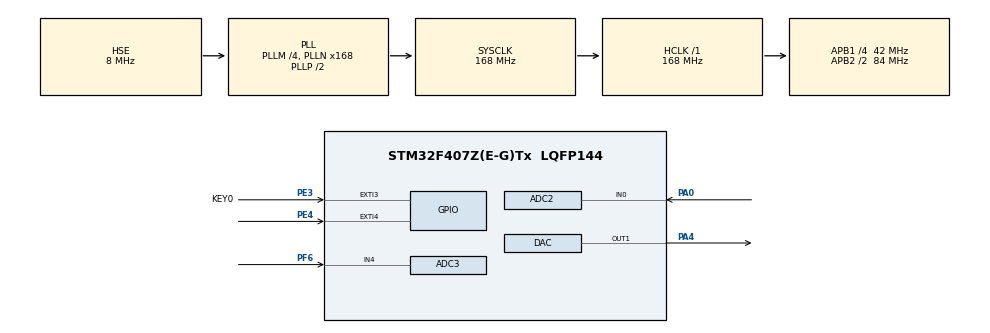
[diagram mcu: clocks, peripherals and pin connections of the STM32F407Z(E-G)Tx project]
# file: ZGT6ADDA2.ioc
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ADC2.Channel-0\#ChannelRegularConversion=ADC_CHANNEL_0
ADC2.ContinuousConvMode=ENABLE
ADC2.DMAContinuousRequests=ENABLE
ADC2.NbrOfConversionFlag=1
ADC2.Rank-0\#ChannelRegularConversion=1
ADC2.SamplingTime-0\#ChannelRegularConversion=ADC_SAMPLETIME_3CYCLES
ADC2.ScanConvMode=DISABLE
ADC3.Channel-1\#ChannelRegularConversion=ADC_CHANNEL_4
ADC3.ContinuousConvMode=ENABLE
ADC3.DMAContinuousRequests=ENABLE
ADC3.DiscontinuousConvMode=DISABLE
ADC3.NbrOfConversion=1
ADC3.NbrOfConversionFlag=1
ADC3.Rank-1\#ChannelRegularConversion=1
ADC3.SamplingTime-1\#ChannelRegularConversion=ADC_SAMPLETIME_3CYCLES
ADC3.ScanConvMode=DISABLE
Dma.ADC2.1.Direction=DMA_PERIPH_TO_MEMORY
Dma.ADC2.1.FIFOMode=DMA_FIFOMODE_DISABLE
Dma.ADC2.1.Instance=DMA2_Stream2
Dma.ADC2.1.MemDataAlignment=DMA_MDATAALIGN_HALFWORD
Dma.ADC2.1.MemInc=DMA_MINC_ENABLE
Dma.ADC2.1.Mode=DMA_CIRCULAR
Dma.ADC2.1.PeriphDataAlignment=DMA_PDATAALIGN_HALFWORD
Dma.ADC2.1.PeriphInc=DMA_PINC_DISABLE
Dma.ADC2.1.Priority=DMA_PRIORITY_LOW
Dma.ADC3.0.Direction=DMA_PERIPH_TO_MEMORY
Dma.ADC3.0.FIFOMode=DMA_FIFOMODE_DISABLE
Dma.ADC3.0.Instance=DMA2_Stream0
Dma.ADC3.0.MemDataAlignment=DMA_MDATAALIGN_HALFWORD
Dma.ADC3.0.MemInc=DMA_MINC_ENABLE
Dma.ADC3.0.Mode=DMA_CIRCULAR
Dma.ADC3.0.PeriphDataAlignment=DMA_PDATAALIGN_HALFWORD
Dma.ADC3.0.PeriphInc=DMA_PINC_DISABLE
Dma.ADC3.0.Priority=DMA_PRIORITY_LOW
Dma.Request0=ADC3
Dma.Request1=ADC2
Mcu.Family=STM32F4
Mcu.Name=STM32F407Z(E-G)Tx
Mcu.Package=LQFP144
NVIC.EXTI3_IRQn=true\:0\:0\:false\:false\:true\:true\:true
NVIC.EXTI4_IRQn=true\:0\:0\:false\:false\:true\:true\:true
NVIC.PriorityGroup=NVIC_PRIORITYGROUP_4
PA0-WKUP.Signal=ADCx_IN0
PA4.Signal=COMP_DAC1_group
PE3.GPIO_Label=KEY0
PE3.GPIO_ModeDefaultEXTI=GPIO_MODE_IT_FALLING
PE3.GPIO_PuPd=GPIO_PULLUP
PE3.Signal=GPXTI3
PE4.GPIO_ModeDefaultEXTI=GPIO_MODE_IT_FALLING
PE4.GPIO_PuPd=GPIO_PULLUP
PE4.Signal=GPXTI4
PF6.Mode=IN4
PF6.Signal=ADC3_IN4
PH0-OSC_IN.Mode=HSE-External-Oscillator
PH0-OSC_IN.Signal=RCC_OSC_IN
PH1-OSC_OUT.Mode=HSE-External-Oscillator
PH1-OSC_OUT.Signal=RCC_OSC_OUT
ProjectManager.HeapSize=0x200
ProjectManager.StackSize=0x400
ProjectManager.TargetToolchain=MDK-ARM V5
RCC.48MHZClocksFreq_Value=84000000
RCC.AHBFreq_Value=168000000
RCC.APB1CLKDivider=RCC_HCLK_DIV4
RCC.APB1Freq_Value=42000000
RCC.APB1TimFreq_Value=84000000
RCC.APB2CLKDivider=RCC_HCLK_DIV2
RCC.APB2Freq_Value=84000000
RCC.APB2TimFreq_Value=168000000
RCC.CortexFreq_Value=168000000
RCC.HCLKFreq_Value=168000000
RCC.HSE_VALUE=8000000
RCC.HSI_VALUE=16000000
RCC.LSE_VALUE=32768
RCC.PLLM=4
RCC.PLLN=168
RCC.PLLSourceVirtual=RCC_PLLSOURCE_HSE
RCC.SYSCLKFreq_VALUE=168000000
RCC.SYSCLKSource=RCC_SYSCLKSOURCE_PLLCLK
RCC.VCOOutputFreq_Value=336000000
SH.ADCx_IN0.0=ADC2_IN0,IN0
SH.COMP_DAC1_group.0=DAC_OUT1,DAC_OUT1
board=custom

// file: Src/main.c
/* USER CODE BEGIN Header */
/**
  ******************************************************************************
  * @file           : main.c
  * @brief          : Main program body
  ******************************************************************************
  * @attention
  *
  * <h2><center>&copy; Copyright (c) 2021 STMicroelectronics.
  * All rights reserved.</center></h2>
  *
  * This software component is licensed by ST under BSD 3-Clause license,
  * the "License"; You may not use this file except in compliance with the
  * License. You may obtain a copy of the License at:
  *                        opensource.org/licenses/BSD-3-Clause
  *
  ******************************************************************************
  */
/* USER CODE END Header */

#include "main.h"

ADC_HandleTypeDef hadc2;
ADC_HandleTypeDef hadc3;
DMA_HandleTypeDef hdma_adc2;
DMA_HandleTypeDef hdma_adc3;

DAC_HandleTypeDef hdac;

void SystemClock_Config(void);
static void MX_GPIO_Init(void);
static void MX_DMA_Init(void);
static void MX_ADC3_Init(void);
static void MX_DAC_Init(void);
static void MX_ADC2_Init(void);

/* USER CODE BEGIN 0 */
float db[41]={0.10000,0.11220,0.12589,0.14125,0.15849,0.17783,0.19953,0.22387,0.25119,0.28184,0.31623,0.35481,0.39811,0.44668,0.50119,0.56234,0.63096,0.70795,0.79433,0.89125,1.00000,1.12202,1.25893,1.41254,1.58489,1.77828,1.99526,2.23872,2.51189,2.81838,3.16228,3.54813,3.98107,4.46684,5.01187,5.62341,6.30957,7.07946,7.94328,8.91251,10.00000};
float out[81]={1.000, 1.000,1.0109, 1.0109,1.0109, 1.0109,1.0109, 1.0109,1.0220, 1.0220,1.0220, 1.0220,1.0220, 1.0220,1.0333, 1.0333,1.0333, 1.0333,1.0449, 1.0449,1.0690, 1.0690,1.0690, 1.0690,1.0814, 1.0814,1.0941, 1.0941,1.1071, 1.1071,1.1205, 1.1205,1.1341, 1.1341,1.1481, 1.1481,1.1625, 1.1625,1.1772, 1.1772,1.1923, 1.1923,1.2237, 1.2237,1.2400, 1.2400,1.2568, 1.2568,1.2917, 1.2917,1.3099, 1.3099,1.3286, 1.3286,1.3676, 1.3676,1.3881, 1.3881,1.4091, 1.4091,1.4531, 1.4531,1.4762, 1.4762,1.5246, 1.5246,1.5500, 1.5500,1.5763, 1.5763,1.6034, 1.6034,1.6316, 1.6316,1.6316, 1.6316,1.6909, 1.6909,1.7222, 1.7222};
	uint32_t ad_value;
int i=20;
int da_value;
int count=0;
int x=0;
int freq=1;
int adc1_in;
/* USER CODE END 0 */

int main(void)
{

  /* MCU Configuration--------------------------------------------------------*/

  /* Reset of all peripherals, Initializes the Flash interface and the Systick. */
  HAL_Init();

  /* Configure the system clock */
  SystemClock_Config();

  /* Initialize all configured peripherals */
  MX_GPIO_Init();
  MX_DMA_Init();
  MX_ADC3_Init();
  MX_DAC_Init();
  MX_ADC2_Init();
  /* USER CODE BEGIN 2 */

//for(x=0;x<81;x++){
//	out[x]=(2.1921/(-0.0001*(x/2)*(x/2) - 0.0202*(x/2) + 2.1921));
//}

HAL_ADC_Start_DMA(&hadc2,(uint32_t*)&adc1_in,1);
HAL_ADC_Start_DMA(&hadc3,(uint32_t*)&ad_value,1);
HAL_DAC_Start(&hdac,DAC_CHANNEL_1); //??DAC??
//HAL_DAC_Start(&hdac,DAC_CHANNEL_1);

  /* USER CODE END 2 */

  /* Infinite loop */
  while (1)
  {

    /* USER CODE BEGIN 3 */

		freq=adc1_in/50-1;

		da_value=ad_value;
		if(da_value<=2048){da_value=(da_value-2048)*db[i]*out[freq]+2048;}
		if(da_value>2048){da_value=(da_value-2048)*db[i]*out[freq]+2048;}
		HAL_DAC_SetValue(&hdac,DAC_CHANNEL_1,DAC_ALIGN_12B_R,(uint32_t)(da_value));
  }
  /* USER CODE END 3 */
}

void SystemClock_Config(void)
{
  RCC_OscInitTypeDef RCC_OscInitStruct = {0};
  RCC_ClkInitTypeDef RCC_ClkInitStruct = {0};

  /** Configure the main internal regulator output voltage
  */
  __HAL_RCC_PWR_CLK_ENABLE();
  __HAL_PWR_VOLTAGESCALING_CONFIG(PWR_REGULATOR_VOLTAGE_SCALE1);
  /** Initializes the CPU, AHB and APB busses clocks
  */
  RCC_OscInitStruct.OscillatorType = RCC_OSCILLATORTYPE_HSE;
  RCC_OscInitStruct.HSEState = RCC_HSE_ON;
  RCC_OscInitStruct.PLL.PLLState = RCC_PLL_ON;
  RCC_OscInitStruct.PLL.PLLSource = RCC_PLLSOURCE_HSE;
  RCC_OscInitStruct.PLL.PLLM = 4;
  RCC_OscInitStruct.PLL.PLLN = 168;
  RCC_OscInitStruct.PLL.PLLP = RCC_PLLP_DIV2;
  RCC_OscInitStruct.PLL.PLLQ = 4;
  if (HAL_RCC_OscConfig(&RCC_OscInitStruct) != HAL_OK)
  {
    Error_Handler();
  }
  /** Initializes the CPU, AHB and APB busses clocks
  */
  RCC_ClkInitStruct.ClockType = RCC_CLOCKTYPE_HCLK|RCC_CLOCKTYPE_SYSCLK
                              |RCC_CLOCKTYPE_PCLK1|RCC_CLOCKTYPE_PCLK2;
  RCC_ClkInitStruct.SYSCLKSource = RCC_SYSCLKSOURCE_PLLCLK;
  RCC_ClkInitStruct.AHBCLKDivider = RCC_SYSCLK_DIV1;
  RCC_ClkInitStruct.APB1CLKDivider = RCC_HCLK_DIV4;
  RCC_ClkInitStruct.APB2CLKDivider = RCC_HCLK_DIV2;

  if (HAL_RCC_ClockConfig(&RCC_ClkInitStruct, FLASH_LATENCY_5) != HAL_OK)
  {
    Error_Handler();
  }
}

static void MX_ADC2_Init(void)
{

  ADC_ChannelConfTypeDef sConfig = {0};

  /** Configure the global features of the ADC (Clock, Resolution, Data Alignment and number of conversion)
  */
  hadc2.Instance = ADC2;
  hadc2.Init.ClockPrescaler = ADC_CLOCK_SYNC_PCLK_DIV4;
  hadc2.Init.Resolution = ADC_RESOLUTION_12B;
  hadc2.Init.ScanConvMode = DISABLE;
  hadc2.Init.ContinuousConvMode = ENABLE;
  hadc2.Init.DiscontinuousConvMode = DISABLE;
  hadc2.Init.ExternalTrigConvEdge = ADC_EXTERNALTRIGCONVEDGE_NONE;
  hadc2.Init.ExternalTrigConv = ADC_SOFTWARE_START;
  hadc2.Init.DataAlign = ADC_DATAALIGN_RIGHT;
  hadc2.Init.NbrOfConversion = 1;
  hadc2.Init.DMAContinuousRequests = ENABLE;
  hadc2.Init.EOCSelection = ADC_EOC_SINGLE_CONV;
  if (HAL_ADC_Init(&hadc2) != HAL_OK)
  {
    Error_Handler();
  }
  /** Configure for the selected ADC regular channel its corresponding rank in the sequencer and its sample time.
  */
  sConfig.Channel = ADC_CHANNEL_0;
  sConfig.Rank = 1;
  sConfig.SamplingTime = ADC_SAMPLETIME_3CYCLES;
  if (HAL_ADC_ConfigChannel(&hadc2, &sConfig) != HAL_OK)
  {
    Error_Handler();
  }

}

static void MX_ADC3_Init(void)
{

  ADC_ChannelConfTypeDef sConfig = {0};

  /** Configure the global features of the ADC (Clock, Resolution, Data Alignment and number of conversion)
  */
  hadc3.Instance = ADC3;
  hadc3.Init.ClockPrescaler = ADC_CLOCK_SYNC_PCLK_DIV4;
  hadc3.Init.Resolution = ADC_RESOLUTION_12B;
  hadc3.Init.ScanConvMode = DISABLE;
  hadc3.Init.ContinuousConvMode = ENABLE;
  hadc3.Init.DiscontinuousConvMode = DISABLE;
  hadc3.Init.ExternalTrigConvEdge = ADC_EXTERNALTRIGCONVEDGE_NONE;
  hadc3.Init.ExternalTrigConv = ADC_SOFTWARE_START;
  hadc3.Init.DataAlign = ADC_DATAALIGN_RIGHT;
  hadc3.Init.NbrOfConversion = 1;
  hadc3.Init.DMAContinuousRequests = ENABLE;
  hadc3.Init.EOCSelection = ADC_EOC_SINGLE_CONV;
  if (HAL_ADC_Init(&hadc3) != HAL_OK)
  {
    Error_Handler();
  }
  /** Configure for the selected ADC regular channel its corresponding rank in the sequencer and its sample time.
  */
  sConfig.Channel = ADC_CHANNEL_4;
  sConfig.Rank = 1;
  sConfig.SamplingTime = ADC_SAMPLETIME_3CYCLES;
  if (HAL_ADC_ConfigChannel(&hadc3, &sConfig) != HAL_OK)
  {
    Error_Handler();
  }

}

static void MX_DAC_Init(void)
{

  DAC_ChannelConfTypeDef sConfig = {0};

  /** DAC Initialization
  */
  hdac.Instance = DAC;
  if (HAL_DAC_Init(&hdac) != HAL_OK)
  {
    Error_Handler();
  }
  /** DAC channel OUT1 config
  */
  sConfig.DAC_Trigger = DAC_TRIGGER_NONE;
  sConfig.DAC_OutputBuffer = DAC_OUTPUTBUFFER_ENABLE;
  if (HAL_DAC_ConfigChannel(&hdac, &sConfig, DAC_CHANNEL_1) != HAL_OK)
  {
    Error_Handler();
  }

}

static void MX_DMA_Init(void)
{

  /* DMA controller clock enable */
  __HAL_RCC_DMA2_CLK_ENABLE();

}

static void MX_GPIO_Init(void)
{
  GPIO_InitTypeDef GPIO_InitStruct = {0};

  /* GPIO Ports Clock Enable */
  __HAL_RCC_GPIOE_CLK_ENABLE();
  __HAL_RCC_GPIOF_CLK_ENABLE();
  __HAL_RCC_GPIOH_CLK_ENABLE();
  __HAL_RCC_GPIOA_CLK_ENABLE();

  /*Configure GPIO pins : KEY0_Pin PE4 */
  GPIO_InitStruct.Pin = KEY0_Pin|GPIO_PIN_4;
  GPIO_InitStruct.Mode = GPIO_MODE_IT_FALLING;
  GPIO_InitStruct.Pull = GPIO_PULLUP;
  HAL_GPIO_Init(GPIOE, &GPIO_InitStruct);

  /* EXTI interrupt init*/
  HAL_NVIC_SetPriority(EXTI3_IRQn, 0, 0);
  HAL_NVIC_EnableIRQ(EXTI3_IRQn);

  HAL_NVIC_SetPriority(EXTI4_IRQn, 0, 0);
  HAL_NVIC_EnableIRQ(EXTI4_IRQn);

}

void Error_Handler(void)
{
}

/************************ (C) COPYRIGHT STMicroelectronics *****END OF FILE****/
